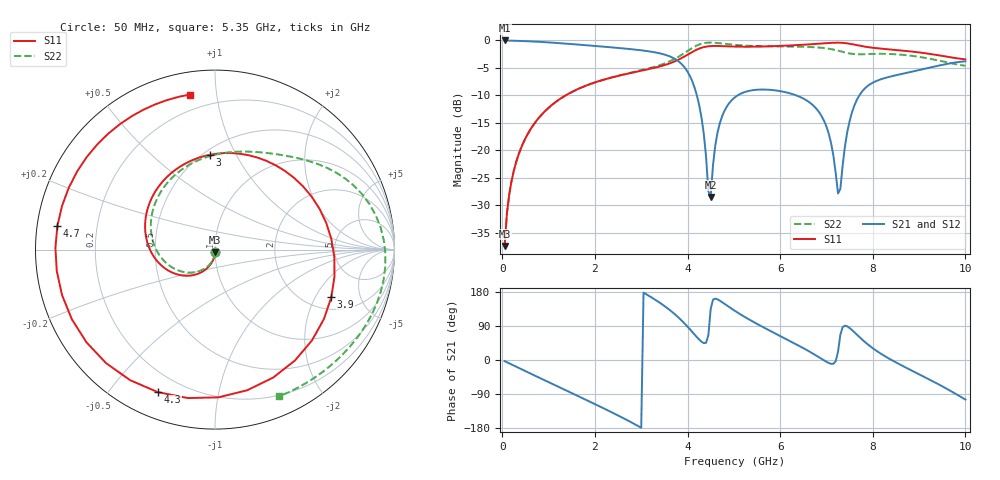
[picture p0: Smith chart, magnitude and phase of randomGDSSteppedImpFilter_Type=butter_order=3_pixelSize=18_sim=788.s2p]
! freq	dB(S11)	phase(S11)	dB(S12)	phase(S12)
!  dB(S21)	phase(S21)	dB(S22)	phase(S22)
!S-par simulation data
#  GHz  S  DB  R 50
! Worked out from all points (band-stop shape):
!   200 points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, 50 MHz to 10 GHz, reference 50 ohm
!   highest |S21| = -0.02 dB at 50 MHz (marker M1); lowest = -28.5 dB at 4.5 GHz (marker M2)
!   |S21| within 3 dB of the highest: start of sweep to 3.645 GHz
!   lowest |S11| = -37.4 dB at 50 MHz (marker M3), VSWR 1.03, Z = 50.1 - j1.34 ohm
!   |S11| at or under -10 dB: start of sweep to 1.371 GHz
!   |S22| runs from -37.5 to -0.4 dB; largest |S21 - S12| = 0
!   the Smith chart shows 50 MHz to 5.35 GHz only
!   S11 on the Smith chart (normalised r, x): 50 MHz: 1.00, -0.03; 3 GHz: 0.54, +0.79; 3.9 GHz: 2.62, -2.73; 4.3 GHz: 0.11, -0.67; 4.7 GHz: 0.06, +0.07; 5.35 GHz: 0.11, +0.84
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0.05  -37.44 -86.7  -0.02 -3.0  -0.02 -3.0  -37.47 -87.2
0.2  -25.60 -98.5  -0.05 -11.8  -0.05 -11.8  -25.60 -100.2
0.5  -17.82 -116.7  -0.14 -29.4  -0.14 -29.4  -17.85 -120.7
1.75  -8.43 174.1  -0.84 -101.8  -0.84 -101.8  -8.45 161.1
3  -5.53 93.3  -1.81 -178.8  -1.81 -178.8  -5.44 87.5
3.4  -4.75 54.4  -2.36 151.2  -2.36 151.2  -4.52 66.0
3.9  -3.09 -22.3  -4.56 100.9  -4.56 100.9  -2.48 39.0
4.3  -1.35 -111.8  -13.98 48.5  -13.98 48.5  -0.62 7.5
4.5  -1.04 -154.0  -28.51 134.8  -28.51 134.8  -0.41 -9.9
4.7  -1.03 171.5  -15.00 156.4  -15.00 156.4  -0.53 -25.5
5.05  -1.14 127.2  -10.20 127.5  -10.20 127.5  -0.84 -48.5
5.35  -1.16 99.2  -9.15 105.5  -9.15 105.5  -1.00 -66.6
6.1  -0.97 48.1  -9.41 57.2  -9.41 57.2  -1.11 -113.3
6.7  -0.69 16.3  -11.75 17.5  -11.75 17.5  -1.23 -164.2
7  -0.51 1.5  -15.71 -4.8  -15.71 -4.8  -1.45 155.8
7.3  -0.43 -13.8  -27.03 66.9  -27.03 66.9  -1.98 94.2
7.65  -0.86 -30.3  -10.94 67.6  -10.94 67.6  -2.53 1.8
7.95  -1.29 -40.9  -7.95 35.6  -7.95 35.6  -2.48 -60.0
8.35  -1.64 -53.5  -6.66 3.8  -6.66 3.8  -2.47 -113.3
9.15  -2.36 -76.4  -5.12 -46.9  -5.12 -46.9  -3.21 168.2
9.6  -2.97 -86.6  -4.29 -76.1  -4.29 -76.1  -4.00 119.4
10  -3.46 -92.8  -3.81 -104.4  -3.81 -104.4  -4.63 67.6
